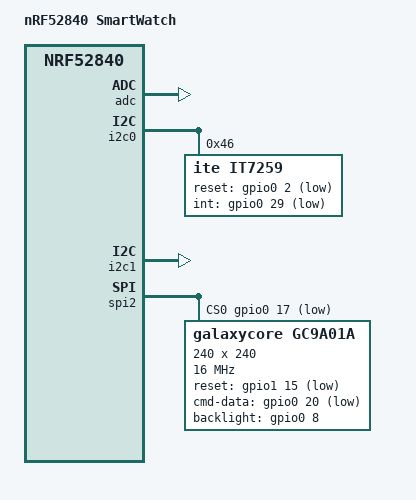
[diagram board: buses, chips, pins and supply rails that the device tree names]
/dts-v1/;
#include <nordic/nrf52840_qiaa.dtsi>
#include "nrf52840_smartwatch-pinctrl.dtsi"

/ {
    model = "nRF52840 SmartWatch";
    compatible = "seenemikk,nrf52840-smartwatch";

    chosen {
        zephyr,sram = &sram0;
        zephyr,flash = &flash0;
        zephyr,code-partition = &slot0_partition;
        zephyr,display = &gc9a01a;
        zephyr,keyboard_scan = &it7259;
    };
};

&adc {
    status = "okay";
};

&gpiote {
    status = "okay";
};

&gpio0 {
    status = "okay";
};

&gpio1 {
    status = "okay";
};

&i2c0 {
    compatible = "nordic,nrf-twim";
    status = "okay";
    pinctrl-0 = <&i2c0_default>;
    pinctrl-1 = <&i2c0_sleep>;
    pinctrl-names = "default", "sleep";

    // Touch sensor
    it7259: it7259@46 {
        compatible = "ite,it7259";
        reg = <0x46>;
        label = "IT7259";

        reset-gpios = <&gpio0 2 GPIO_ACTIVE_LOW>;
        int-gpios = <&gpio0 29 GPIO_ACTIVE_LOW>;
    };
};

// IMU
&i2c1 {
    compatible = "nordic,nrf-twim";
    status = "okay";
    pinctrl-0 = <&i2c1_default>;
    pinctrl-1 = <&i2c1_sleep>;
    pinctrl-names = "default", "sleep";
};

&spi2 {
    compatible = "nordic,nrf-spim";
    status = "okay";
    pinctrl-0 = <&spi2_default>;
    pinctrl-1 = <&spi2_sleep>;
    pinctrl-names = "default", "sleep";
    cs-gpios = <&gpio0 17 GPIO_ACTIVE_LOW>;

    // Display
    gc9a01a: gc9a01a@0 {
        compatible = "galaxycore,gc9a01a";
        reg = <0>;
        spi-max-frequency = <16000000>;
        label = "GC9A01A";

        reset-gpios = <&gpio1 15 GPIO_ACTIVE_LOW>;
        cmd-data-gpios = <&gpio0 20 GPIO_ACTIVE_LOW>;
        backlight-gpios = <&gpio0 8 GPIO_ACTIVE_HIGH>;
        height = <240>;
        width = <240>;
    };
};

&flash0 {

    partitions {
        compatible = "fixed-partitions";
        #address-cells = <1>;
        #size-cells = <1>;

        boot_partition: partition@0 {
            label = "mcuboot";
            reg = <0x000000000 0x0000C000>;
        };
        slot0_partition: partition@c000 {
            label = "image-0";
            reg = <0x0000C000 0x00067000>;
        };
        slot1_partition: partition@73000 {
            label = "image-1";
            reg = <0x00073000 0x00067000>;
        };
        scratch_partition: partition@da000 {
            label = "image-scratch";
            reg = <0x000da000 0x0001e000>;
        };

        /*
         * The flash starting at 0x000f8000 and ending at
         * 0x000fffff is reserved for use by the application.
         */

        /*
         * Storage partition will be used by FCB/LittleFS/NVS
         * if enabled.
         */
        storage_partition: partition@f8000 {
            label = "storage";
            reg = <0x000f8000 0x00008000>;
        };
    };
};
